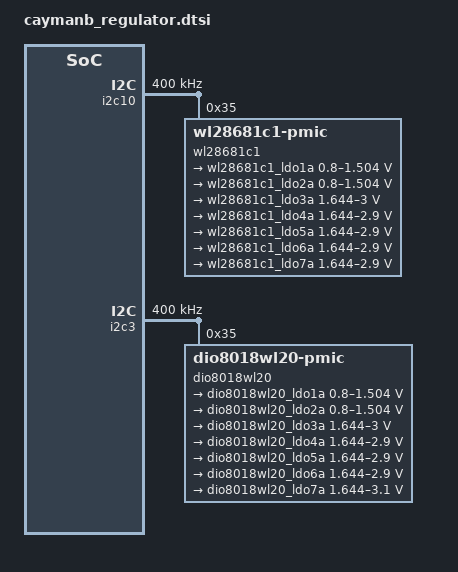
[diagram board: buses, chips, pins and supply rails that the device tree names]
// SPDX-License-Identifier: GPL-2.0
/*
 * Copyright (C) 2021 MediaTek Inc.
 */

&pio {
//u7101
	wl28681c1_default: state_default_a {
		pins_cmd_dat {
			pinmux = <PINMUX_GPIO112__FUNC_GPIO112>;
		};
	};
	// GPIO90 pull up to enable dvdd supply
	wl28681c1_reset_high: state_reset_high_a {
		pins_cmd_dat {
			pinmux = <PINMUX_GPIO112__FUNC_GPIO112>,
			<PINMUX_GPIO93__FUNC_GPIO93>,
			<PINMUX_GPIO92__FUNC_GPIO92>;
			slew-rate = <1>;
			output-high;
		};
	};
	wl28681c1_reset_low: state_reset_low_a {
		pins_cmd_dat {
			pinmux = <PINMUX_GPIO112__FUNC_GPIO112>;
			slew-rate = <1>;
			output-low;
		};
	};

//u7102
	dio8018wl20_default: state_default_a2 {
		pins_cmd_dat {
			pinmux = <PINMUX_GPIO111__FUNC_GPIO111>;
		};
	};
	// GPIO90 pull up to enable dvdd supply
	dio8018wl20_reset_high: state_reset_high_a2 {
		pins_cmd_dat {
			pinmux = <PINMUX_GPIO111__FUNC_GPIO111>;
			slew-rate = <1>;
			output-high;
		};
	};
	dio8018wl20_reset_low: state_reset_low_a2 {
		pins_cmd_dat {
			pinmux = <PINMUX_GPIO111__FUNC_GPIO111>;
			slew-rate = <1>;
			output-low;
		};
	};
};

//u7101
&i2c10 {
	clock-frequency = <400000>;
	wl28681c1@35 {
		compatible = "wl28681c1-pmic";
		reg = <0x35>;
		pinctrl-names = "default", "reset_high", "reset_low";
		pinctrl-0 = <&wl28681c1_default>;
		pinctrl-1 = <&wl28681c1_reset_high>;
		pinctrl-2 = <&wl28681c1_reset_low>;
		regulators {
			wl28681c1_ldo1a:ONLDO1 {
				regulator-name = "wl28681c1_ldo1a";
				regulator-min-microvolt = <800000>;
				regulator-max-microvolt = <1504000>;
			};
			//dvdd 1.1
			wl28681c1_ldo2a:ONLDO2 {
				regulator-name = "wl28681c1_ldo2a";
				regulator-min-microvolt = <800000>;
				regulator-max-microvolt = <1504000>;
			};
			//front avdd 2.9
			wl28681c1_ldo3a:ONLDO3 {
				regulator-name = "wl28681c1_ldo3a";
				regulator-min-microvolt = <1644000>;
				regulator-max-microvolt = <3000000>;
			};
			//avdd 2.8
			wl28681c1_ldo4a:ONLDO4 {
				regulator-name = "wl28681c1_ldo4a";
				regulator-min-microvolt = <1644000>;
				regulator-max-microvolt = <2900000>;
			};
			//avdd 1.8
			wl28681c1_ldo5a:ONLDO5 {
				regulator-name = "wl28681c1_ldo5a";
				regulator-min-microvolt = <1644000>;
				regulator-max-microvolt = <2900000>;
			};
			//iovdd 1.8
			wl28681c1_ldo6a:ONLDO6 {
				regulator-name = "wl28681c1_ldo6a";
				regulator-min-microvolt = <1644000>;
				regulator-max-microvolt = <2900000>;
			};
			wl28681c1_ldo7a:ONLDO7 {
				regulator-name = "wl28681c1_ldo7a";
				regulator-min-microvolt = <1644000>;
				regulator-max-microvolt = <2900000>;
			};
		};
	};
};

//u7102
&i2c3 {
	clock-frequency = <400000>;
	dio8018wl20@35 {
		compatible = "dio8018wl20-pmic";
		reg = <0x35>;
		pinctrl-names = "default", "reset_high", "reset_low";
		pinctrl-0 = <&dio8018wl20_default>;
		pinctrl-1 = <&dio8018wl20_reset_high>;
		pinctrl-2 = <&dio8018wl20_reset_low>;
		regulators {
			dio8018wl20_ldo1a:ONLDO1 {
				regulator-name = "dio8018wl20_ldo1a";
				regulator-min-microvolt = <800000>;
				regulator-max-microvolt = <1504000>;
			};
			dio8018wl20_ldo2a:ONLDO2 {
				regulator-name = "dio8018wl20_ldo2a";
				regulator-min-microvolt = <800000>;
				regulator-max-microvolt = <1504000>;
			};
			//avdd 2.8
			dio8018wl20_ldo3a:ONLDO3 {
				regulator-name = "dio8018wl20_ldo3a";
				regulator-min-microvolt = <1644000>;
				regulator-max-microvolt = <3000000>;
			};
			dio8018wl20_ldo4a:ONLDO4 {
				regulator-name = "dio8018wl20_ldo4a";
				regulator-min-microvolt = <1644000>;
				regulator-max-microvolt = <2900000>;
			};
			//
			dio8018wl20_ldo5a:ONLDO5 {
				regulator-name = "dio8018wl20_ldo5a";
				regulator-min-microvolt = <1644000>;
				regulator-max-microvolt = <2900000>;
			};
			dio8018wl20_ldo6a:ONLDO6 {
				regulator-name = "dio8018wl20_ldo6a";
				regulator-min-microvolt = <1644000>;
				regulator-max-microvolt = <2900000>;
			};
			dio8018wl20_ldo7a:ONLDO7 {
				regulator-name = "dio8018wl20_ldo7a";
				regulator-min-microvolt = <1644000>;
				regulator-max-microvolt = <3100000>;
			};
		};
	};
};



